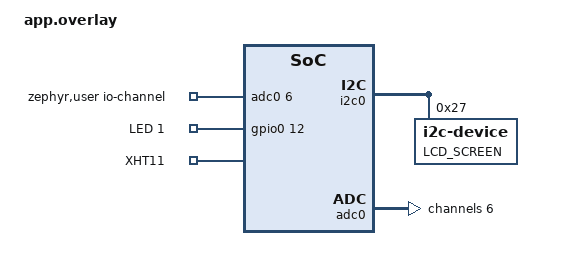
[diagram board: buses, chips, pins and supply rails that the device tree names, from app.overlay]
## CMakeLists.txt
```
# SPDX-License-Identifier: Apache-2.0

cmake_minimum_required(VERSION 3.20.0)

find_package(Zephyr REQUIRED HINTS $ENV{ZEPHYR_BASE})
project(hello_world)

target_sources(app PRIVATE 
    src/main.c
    src/LCD.c
)
```

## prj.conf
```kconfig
# nothing here
CONFIG_ESP32_USE_UNSUPPORTED_REVISION=y
CONFIG_I2C=y
CONFIG_SENSOR=y
CONFIG_DHT=y
CONFIG_GPIO=y
CONFIG_ADC=y
CONFIG_ADC_INIT_PRIORITY=90
CONFIG_SENSOR=y



#GOOD
```

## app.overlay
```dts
/ {
zephyr,user {
		io-channels =
			<&adc0 6>;
				};


    gpio_keys {
        compatible = "gpio-keys";
        ledyellow: led_yellow {
            gpios = <&gpio0 12 GPIO_ACTIVE_HIGH>;
            label = "LED 1";
        };
        dht11: dht11 {
            compatible = "aosong,dht";
            status = "okay";
            dio-gpios = <&gpio0 17 GPIO_ACTIVE_LOW>;
            label = "XHT11";
        };
    };

    aliases {
        led-yellow = &ledyellow;
        lcd-screen = &lcdscreen;
    };

   
};

&i2c0 {
    lcdscreen: lcd_screen@27 {
        compatible = "i2c-device";
        reg = <0x27>;
        label = "LCD_SCREEN";
    };
};
&adc0 {
	status = "okay";
	#address-cells = <1>;
	#size-cells = <0>;

	channel@6 {
		reg = <6>;
		zephyr,gain = "ADC_GAIN_1_4";
		zephyr,reference = "ADC_REF_INTERNAL";
		zephyr,acquisition-time = <ADC_ACQ_TIME_DEFAULT>;
		zephyr,resolution = <12>;
	};
};
```

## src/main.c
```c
#include <stdio.h>
#include <zephyr/kernel.h>
#include <zephyr/drivers/gpio.h>
#include <zephyr/drivers/i2c.h>
#include <zephyr/drivers/sensor.h>
#include <inttypes.h>
#include <stddef.h>
#include <stdint.h>
#include <zephyr/device.h>
#include <zephyr/devicetree.h>
#include <zephyr/drivers/adc.h>
#include <zephyr/sys/printk.h>
#include <zephyr/sys/util.h>
#include <zephyr/sys/time_units.h>  // Ajout pour mesurer le temps
#include "LCD.h"

#define LED_YELLOW_NODE DT_ALIAS(led_yellow)
#define LCD_SCREEN_NODE DT_ALIAS(lcd_screen)
#define BUTTON_1_NODE DT_ALIAS(button1)
#define BUTTON_2_NODE DT_ALIAS(button2)

const struct gpio_dt_spec led_yellow_gpio = GPIO_DT_SPEC_GET_OR(LED_YELLOW_NODE, gpios, {0});
static const struct i2c_dt_spec lcd_screen = I2C_DT_SPEC_GET(LCD_SCREEN_NODE);
static const struct device *dht11 = DEVICE_DT_GET(DT_NODELABEL(dht11));

#if !DT_NODE_EXISTS(DT_PATH(zephyr_user)) || \
	!DT_NODE_HAS_PROP(DT_PATH(zephyr_user), io_channels)
#error "No suitable devicetree overlay specified"
#endif

#define DT_SPEC_AND_COMMA(node_id, prop, idx) \
	ADC_DT_SPEC_GET_BY_IDX(node_id, idx),

static const struct adc_dt_spec adc_channels[] = {
	DT_FOREACH_PROP_ELEM(DT_PATH(zephyr_user), io_channels,
			     DT_SPEC_AND_COMMA)
};

const struct gpio_dt_spec button1_gpio = GPIO_DT_SPEC_GET_OR(BUTTON_1_NODE, gpios, {0});
const struct gpio_dt_spec button2_gpio = GPIO_DT_SPEC_GET_OR(BUTTON_2_NODE, gpios, {0});

volatile bool button1_pressed = false;
volatile bool button2_pressed = false;


#define DEBOUNCE_DELAY_MS 1000 
static int64_t last_press_time_button1 = 0;
static int64_t last_press_time_button2 = 0;

void button1_handler(const struct device *dev, struct gpio_callback *cb, uint32_t pins) {
    int64_t now = k_uptime_get();  
    if ((now - last_press_time_button1) > DEBOUNCE_DELAY_MS) {
        button1_pressed = true;
        printk("Button 1 pressed\n");
        last_press_time_button1 = now;
    }
}

void button2_handler(const struct device *dev, struct gpio_callback *cb, uint32_t pins) {
    int64_t now = k_uptime_get();  
    if ((now - last_press_time_button2) > DEBOUNCE_DELAY_MS) {
        button2_pressed = true;
        printk("Button 2 pressed\n");
        last_press_time_button2 = now;
    }
}

static struct gpio_callback button1_cb_data;
static struct gpio_callback button2_cb_data;

int main(void) {
    int ret;

    gpio_pin_configure_dt(&led_yellow_gpio, GPIO_OUTPUT_HIGH);

    ret = gpio_pin_configure_dt(&button1_gpio, GPIO_INPUT);
    if (ret != 0) {
        printk("Erreur de configuration du bouton 1\n");
        return ret;
    }

    ret = gpio_pin_configure_dt(&button2_gpio, GPIO_INPUT);
    if (ret != 0) {
        printk("Erreur de configuration du bouton 2\n");
        return ret;
    }

    ret = gpio_pin_interrupt_configure_dt(&button1_gpio, GPIO_INT_EDGE_TO_ACTIVE);
    if (ret != 0) {
        printk("Erreur de configuration de l'interruption pour le bouton 1\n");
        return ret;
    }

    ret = gpio_pin_interrupt_configure_dt(&button2_gpio, GPIO_INT_EDGE_TO_ACTIVE);
    if (ret != 0) {
        printk("Erreur de configuration de l'interruption pour le bouton 2\n");
        return ret;
    }

    gpio_init_callback(&button1_cb_data, button1_handler, BIT(button1_gpio.pin));
    gpio_add_callback(button1_gpio.port, &button1_cb_data);

    gpio_init_callback(&button2_cb_data, button2_handler, BIT(button2_gpio.pin));
    gpio_add_callback(button2_gpio.port, &button2_cb_data);

    while (1) {
        int ret = sensor_sample_fetch(dht11);
        int err;
	    uint32_t count = 0;
	    uint16_t buf;
	    struct adc_sequence sequence = {
		    .buffer = &buf,
		    .buffer_size = sizeof(buf),
	    };

	    for (size_t i = 0U; i < ARRAY_SIZE(adc_channels); i++) {
		    if (!adc_is_ready_dt(&adc_channels[i])) {
			    printk("ADC controller device %s not ready\n", adc_channels[i].dev->name);
			    return 0;
		    }

		    err = adc_channel_setup_dt(&adc_channels[i]);
		    if (err < 0) {
			    printk("Could not setup channel #%d (%d)\n", i, err);
			    return 0;
		    }
	    }

        if (ret == 0) {
            printk("Tout va bien\n");
        } 
        else {
            printk("Erreur\n");
            return -1;
        }
        
        struct sensor_value temp, hum;
        sensor_channel_get(dht11, SENSOR_CHAN_AMBIENT_TEMP, &temp);
        sensor_channel_get(dht11, SENSOR_CHAN_HUMIDITY, &hum);
        printf("Température: %d.%06d °C, Humidité: %d.%06d %%\n", temp.val1, temp.val2, hum.val1, hum.val2);

        for (int k = 0; k < 2; k++) {
	        printk("ADC reading[%u]:\n", count++);
	        for (size_t i = 0U; i < ARRAY_SIZE(adc_channels); i++) {
		        int32_t val_mv;

		        printk("- %s, channel %d: ", adc_channels[i].dev->name, adc_channels[i].channel_id);

		        (void)adc_sequence_init_dt(&adc_channels[i], &sequence);

		        err = adc_read_dt(&adc_channels[i], &sequence);
		        if (err < 0) {
			        printk("Could not read (%d)\n", err);
			        continue;
		        }

		        if (adc_channels[i].channel_cfg.differential) {
			        val_mv = (int32_t)((int16_t)buf);
		        } else {
			        val_mv = (int32_t)buf;
		        }
		        printk("%"PRId32, val_mv);
		        err = adc_raw_to_millivolts_dt(&adc_channels[i], &val_mv);
		
		        if (err < 0) {
			        printk(" (value in mV not available)\n");
		        } else {
			        printk(" = %"PRId32" mV\n", val_mv);
		        }
            }
        }

        if (button1_pressed) {
            printk("Action pour bouton 1\n");
            write_lcd(&lcd_screen, "Bouton 1 pressed", LCD_LINE_1);
            k_sleep(K_SECONDS(2));
            write_lcd(&lcd_screen, "                ", LCD_LINE_1);
            button1_pressed = false;
        }

        if (button2_pressed) {
            printk("Action pour bouton 2\n");
            write_lcd(&lcd_screen, "Bouton 2 pressed", LCD_LINE_2);
            k_sleep(K_SECONDS(2));
            write_lcd(&lcd_screen, "                ", LCD_LINE_2);
            button2_pressed = false;
        }

        k_sleep(K_SECONDS(10));
    }

    return 0;
}
```

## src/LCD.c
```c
#include "LCD.h"
#include <zephyr/kernel.h>
#include <zephyr/drivers/i2c.h>

static void lcd_toggle_enable(const struct i2c_dt_spec *dev_lcd_screen, uint8_t bits);
static void lcd_byte(const struct i2c_dt_spec *dev_lcd_screen, uint8_t bits, uint8_t mode);

void init_lcd(const struct i2c_dt_spec *dev_lcd_screen)
{
    // Initialisation de l'écran LCD
    lcd_byte(dev_lcd_screen, 0x33, LCD_CMD);
    lcd_byte(dev_lcd_screen, 0x32, LCD_CMD);
    lcd_byte(dev_lcd_screen, 0x06, LCD_CMD);
    lcd_byte(dev_lcd_screen, 0x0C, LCD_CMD);
    lcd_byte(dev_lcd_screen, 0x28, LCD_CMD);
    lcd_byte(dev_lcd_screen, 0x01, LCD_CMD); // Effacer l'écran
    write_lcd(dev_lcd_screen, HELLO_MSG, LCD_LINE_1);
    write_lcd(dev_lcd_screen, ZEPHYR_MSG, LCD_LINE_2);
}

static void lcd_byte(const struct i2c_dt_spec *dev_lcd_screen, uint8_t bits, uint8_t mode)
{
    int ret;
    uint8_t bits_high = mode | (bits & 0xF0) | LCD_BACKLIGHT;
    uint8_t bits_low = mode | ((bits << 4) & 0xF0) | LCD_BACKLIGHT;

    ret = i2c_write_dt(dev_lcd_screen, &bits_high, sizeof(bits_high));
    if (ret != 0) {
        printk("ERROR while writing to I2C\n");
    }
    lcd_toggle_enable(dev_lcd_screen, bits_high);

    ret = i2c_write_dt(dev_lcd_screen, &bits_low, sizeof(bits_low));
    if (ret != 0) {
        printk("ERROR while writing to I2C\n");
    }
    lcd_toggle_enable(dev_lcd_screen, bits_low);
}

void write_lcd(const struct i2c_dt_spec *dev_lcd_screen, const char *msg, uint8_t line)
{
    if (line != LCD_LINE_1 && line != LCD_LINE_2) {
        return; // Ligne non valide
    }

    lcd_byte(dev_lcd_screen, line, LCD_CMD); // Sélectionner la ligne

    if (strlen(msg) > LCD_WIDTH) {
        return; // Message trop long
    }
    
    for (uint8_t i = 0; i < strlen(msg); i++) {
        lcd_byte(dev_lcd_screen, msg[i], LCD_CHR); // Écrire le caractère
    }
}

static void lcd_toggle_enable(const struct i2c_dt_spec *dev_lcd_screen, uint8_t bits)
{
    int ret;
    k_sleep(K_MSEC(5));
    
    uint8_t bits1 = bits | LCD_ENABLE;
    ret = i2c_write_dt(dev_lcd_screen, &bits1, sizeof(bits1));
    if (ret != 0) {
        printk("ERROR while writing to I2C\n");
    }
    
    k_sleep(K_MSEC(5));
    
    uint8_t bits2 = bits & ~LCD_ENABLE;
    ret = i2c_write_dt(dev_lcd_screen, &bits2, sizeof(bits2));
    if (ret != 0) {
        printk("ERROR while writing to I2C\n");
    }

    k_sleep(K_MSEC(5));
}
```

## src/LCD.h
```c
/**
 * Author: Vivien Debuchy
 * Simple library for LCD-1602 I2C
 * Based on https://github.com/sterlingbeason/LCD-1602-I2C
 */

#ifndef INC_LCD_SCREEN_I2C_H_
#define INC_LCD_SCREEN_I2C_H_

#include <zephyr/types.h>

struct i2c_dt_spec;

#define LCD_BACKLIGHT 0x08
#define LCD_CMD 0x00
#define LCD_CHR 0x01
#define LCD_ENABLE 0b00000100
#define LCD_LINE_1 0x80 
#define LCD_LINE_2 0xc0 
#define LCD_WIDTH 16 

#define HELLO_MSG "Hello !"
#define ZEPHYR_MSG "Zephyr is cool"
#define START_ALERT_MONITORING_MSG_1 "Alarm"
#define START_ALERT_MONITORING_MSG_2 "Protection"
#define INTRUDER_MSG_1 "INTRUDER"
#define INTRUDER_MSG_2 "LEAVE !"

void init_lcd(const struct i2c_dt_spec *dev_lcd_screen);
void write_lcd(const struct i2c_dt_spec *dev_lcd_screen, const char *msg, uint8_t line);
void write_lcd_clear(const struct i2c_dt_spec *dev_lcd_screen, const char *msg, uint8_t line);

#endif // INC_LCD_SCREEN_I2C_H_
```
